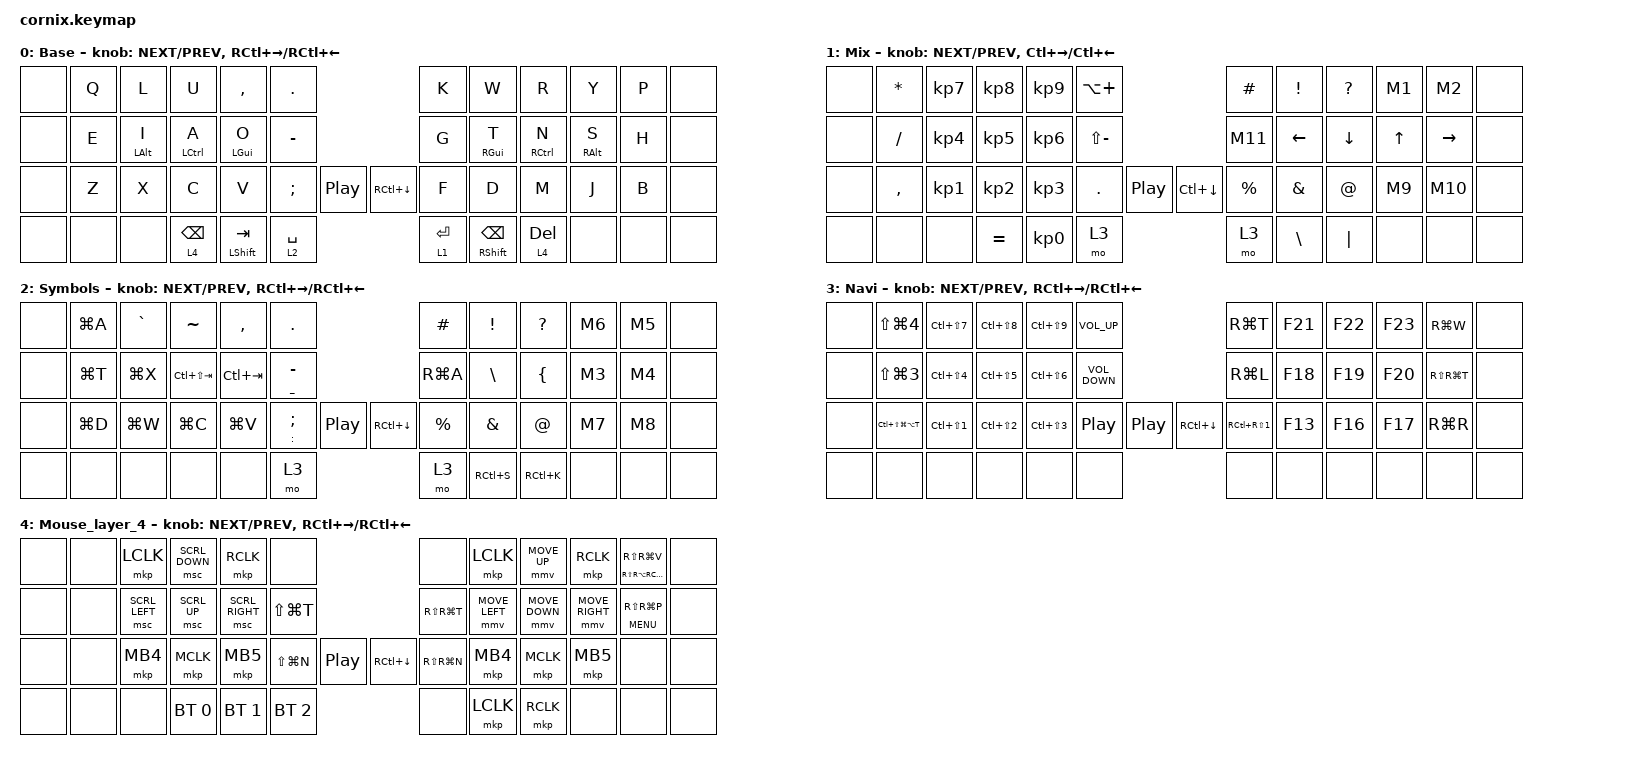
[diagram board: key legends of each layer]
/*
 * Copyright (c) 2020 The ZMK Contributors
 *
 * SPDX-License-Identifier: MIT
 */

#include "zmk-helpers/helper.h"
#include "includes/cornix54.h"

// tap windows for ctl alt and gui

#define HM_TAPPING_TERM 250
#define HM_TAPPING_REPEAT 210

// quick tapping for shift

#define HM_TAPPING_TERM_FAST 200
#define HM_PRIOR_IDLE 70
#define BASE 0
#define WIN 1
#define LOWER 2
#define RAISE 3
#define ADJUST 4
#define NAVI   5
#define NUM    6
#define DEBUG  7

// https://github.com/urob/zmk-config/tree/main#timeless-homerow-mods

#define KEYS_L LT0 LT1 LT2 LT3 LT4 LT5 LM0 LM1 LM2 LM3 LM4 LM5 LB0 LB1 LB2 LB3 LB4 LB5  // left hand
#define KEYS_R RT0 RT1 RT2 RT3 RT4 RT5 RM0 RM1 RM2 RM3 RM4 RM5 RB0 RB1 RB2 RB3 RB4 RB5  // right hand
#define THUMBS LH1 LH0 RH0 RH1
#define KEYS_T LH1 LH0 RH0 RH1
#define ZMK_POINTING_DEFAULT_SCRL_VAL 15

#include <behaviors.dtsi>
#include <dt-bindings/zmk/bt.h>
#include <dt-bindings/zmk/keys.h>
#include <dt-bindings/zmk/pointing.h>

/ {
    // Activate ADJUST layer by pressing raise and lower

    behaviors {
        hm_l: homerow_mods_left {
            compatible = "zmk,behavior-hold-tap";
            #binding-cells = <2>;
            bindings = <&kp>, <&kp>;

            flavor = "balanced";
            tapping-term-ms = <HM_TAPPING_TERM>;
            quick-tap-ms = <200>;                // repeat on tap-into-hold
            require-prior-idle-ms = <HM_PRIOR_IDLE>;
            hold-trigger-key-positions = <KEYS_R KEYS_T>;
            hold-trigger-on-release;
        };

        hm_r: homerow_mods_right {
            compatible = "zmk,behavior-hold-tap";
            #binding-cells = <2>;
            bindings = <&kp>, <&kp>;

            flavor = "balanced";
            tapping-term-ms = <HM_TAPPING_TERM>;
            quick-tap-ms = <200>;
            require-prior-idle-ms = <HM_PRIOR_IDLE>;
            hold-trigger-key-positions = <KEYS_L KEYS_T>;
            hold-trigger-on-release;
        };

        // Positional Homerow mods for shift
        // Use faster tapping term and disable some features that may
        // cause false negatives.

        hm_shift_l: hm_shift_l {
            compatible = "zmk,behavior-hold-tap";
            #binding-cells = <2>;
            bindings = <&kp>, <&kp>;

            //flavor = "balanced";

            flavor = "balanced";
            tapping-term-ms = <HM_TAPPING_TERM_FAST>;
            quick-tap-ms = <200>;
            require-prior-idle-ms = <HM_PRIOR_IDLE>;
            hold-trigger-key-positions = <KEYS_R KEYS_T>;
            hold-trigger-on-release;
        };

        hm_shift_r: hm_shift_r {
            compatible = "zmk,behavior-hold-tap";
            #binding-cells = <2>;
            bindings = <&kp>, <&kp>;

            flavor = "balanced";
            tapping-term-ms = <HM_TAPPING_TERM_FAST>;
            quick-tap-ms = <200>;
            require-prior-idle-ms = <HM_PRIOR_IDLE>;
            hold-trigger-key-positions = <KEYS_L KEYS_T>;

            // for quick tapping; shift+~

            hold-trigger-on-release;
        };

        /*
         * Non-Positional Homerow Mods
         * Used for &mm_grescm_gui behavior on left hand.
         *
         * Usage: &hm LSHFT T
         * Tap: T
         * Tap-Tap-Hold: Repeat T
         * Hold: LSHIFT
         */

        hm: homerow_mods {
            compatible = "zmk,behavior-hold-tap";
            #binding-cells = <2>;
            bindings = <&kp>, <&kp>;

            flavor = "balanced";
            tapping-term-ms = <HM_TAPPING_TERM>;
            quick-tap-ms = <200>;
        };

        lt: layer_tap {
            compatible = "zmk,behavior-hold-tap";
            #binding-cells = <2>;
            bindings = <&mo>, <&kp>;

            flavor = "balanced";
            tapping-term-ms = <175>;
            quick-tap-ms = <200>;
        };

        mt160_behavior: mt160_behavior {
            compatible = "zmk,behavior-hold-tap";
            label = "MT160_BEHAVIOR";
            bindings = <&kp>, <&kp>;

            #binding-cells = <2>;
            tapping-term-ms = <160>;
            quick-tap-ms = <100>;
            flavor = "tap-preferred";
        };

        mt225_behavior: mt225_behavior {
            compatible = "zmk,behavior-hold-tap";
            label = "MT225_BEHAVIOR";
            bindings = <&kp>, <&kp>;

            #binding-cells = <2>;
            tapping-term-ms = <225>;
            quick-tap-ms = <200>;
            flavor = "tap-preferred";
            require-prior-idle-ms = <150>;
        };

        mt220_behavior: mt220_behavior {
            compatible = "zmk,behavior-hold-tap";
            label = "MT220_BEHAVIOR";
            bindings = <&kp>, <&kp>;

            #binding-cells = <2>;
            tapping-term-ms = <220>;
            quick-tap-ms = <100>;
            flavor = "tap-preferred";
        };

        mt170_behavior: mt170_behavior {
            compatible = "zmk,behavior-hold-tap";
            label = "MT170_BEHAVIOR";
            bindings = <&kp>, <&kp>;

            #binding-cells = <2>;
            tapping-term-ms = <170>;
            quick-tap-ms = <80>;
            flavor = "balanced";
            require-prior-idle-ms = <120>;
        };
    };

    conditional_layers { compatible = "zmk,conditional-layers"; };

    combos {
        compatible = "zmk,combos";

        esc {
            bindings = <&kp ESC>;
            key-positions = <1 2>;
            layers = <0>;
            timeout-ms = <100>;
            require-prior-idle-ms = <150>;
        };

        eisuu {
            bindings = <&kp LANG2>;
            key-positions = <14 15>;
            layers = <0>;
            timeout-ms = <100>;
            require-prior-idle-ms = <150>;
        };

        kana {
            bindings = <&kp LANG1>;
            key-positions = <21 20>;
            layers = <0>;
            timeout-ms = <100>;
            require-prior-idle-ms = <150>;
        };

        memo {
            bindings = <&kp RA(RS(RC(RG(ENTER))))>;
            key-positions = <36 35>;
            layers = <0>;
            timeout-ms = <100>;
            require-prior-idle-ms = <150>;
        };

        cmd_enter {
            bindings = <&kp RG(ENTER)>;
            key-positions = <34 33>;
            layers = <0>;
            timeout-ms = <100>;
            require-prior-idle-ms = <150>;
        };

        raycast {
            bindings = <&kp LA(SPACE)>;
            key-positions = <27 28>;
            layers = <0>;
            timeout-ms = <100>;
            require-prior-idle-ms = <150>;
        };

        home {
            bindings = <&kp HOME>;
            key-positions = <20 19>;
            layers = <1>;
            timeout-ms = <100>;
            require-prior-idle-ms = <150>;
        };

        end {
            bindings = <&kp END>;
            key-positions = <22 21>;
            layers = <1>;
            timeout-ms = <100>;
            require-prior-idle-ms = <150>;
        };

        eisuu2 {
            bindings = <&kp LANG2>;
            key-positions = <15 16>;
            layers = <0>;
            timeout-ms = <100>;
            require-prior-idle-ms = <150>;
        };

        kana2 {
            bindings = <&kp LANG1>;
            key-positions = <20 19>;
            layers = <0>;
            timeout-ms = <100>;
            require-prior-idle-ms = <150>;
        };

        iPad_obsidian {
            bindings = <&kp RC(ENTER)>;
            key-positions = <7 8>;
            layers = <0>;
            timeout-ms = <100>;
            require-prior-idle-ms = <150>;
        };

        FN {
            bindings = <&kp K_MENU>;
            key-positions = <9 10>;
        };
    };

    macros {
        M11: M11 {
            compatible = "zmk,behavior-macro";
            #binding-cells = <0>;
            bindings = <&kp LEFT_GUI &kp PERIOD &kp PERIOD &kp PERIOD &kp RIGHT_GUI>;
            label = "M11";
        };

        M9: M9 {
            compatible = "zmk,behavior-macro";
            #binding-cells = <0>;
            bindings = <&kp RIGHT_GUI &kp DOUBLE_QUOTES &kp DOUBLE_QUOTES &kp ENTER &kp LEFT_ARROW>;
            label = "M9";
        };

        M10: M10 {
            compatible = "zmk,behavior-macro";
            #binding-cells = <0>;
            bindings = <&kp RIGHT_GUI &kp SQT &kp SQT &kp ENTER &kp LEFT>;
            label = "M10";
        };

        M1: M1 {
            compatible = "zmk,behavior-macro";
            #binding-cells = <0>;
            bindings = <&kp RIGHT_GUI &kp LEFT_PARENTHESIS &kp RIGHT_PARENTHESIS &kp ENTER &kp LEFT>;
            label = "M1";
        };

        M2: M2 {
            compatible = "zmk,behavior-macro";
            #binding-cells = <0>;
            bindings = <&kp RIGHT_GUI &kp LEFT_BRACKET &kp RIGHT_BRACKET &kp ENTER &kp LEFT>;
            label = "M2";
        };

        M6: M6 {
            compatible = "zmk,behavior-macro";
            #binding-cells = <0>;
            bindings = <&kp LEFT_GUI &kp LEFT_PARENTHESIS &kp RIGHT_PARENTHESIS &kp LEFT>;
            label = "M6";
        };

        M5: M5 {
            compatible = "zmk,behavior-macro";
            #binding-cells = <0>;
            bindings = <&kp LEFT_GUI &kp LESS_THAN &kp GREATER_THAN &kp LEFT>;
            label = "M5";
        };

        M4: M4 {
            compatible = "zmk,behavior-macro";
            #binding-cells = <0>;
            bindings = <&kp LEFT_GUI &kp LEFT_BRACE &kp RIGHT_BRACE &kp LEFT>;
            label = "M4";
        };

        M3: M3 {
            compatible = "zmk,behavior-macro";
            #binding-cells = <0>;
            bindings = <&kp LEFT_GUI &kp LEFT_BRACKET &kp RIGHT_BRACKET &kp LEFT>;
            label = "M3";
        };

        M7: M7 {
            compatible = "zmk,behavior-macro";
            #binding-cells = <0>;
            bindings = <&kp LEFT_GUI &kp DOUBLE_QUOTES &kp DOUBLE_QUOTES &kp LEFT>;
            label = "M7";
        };

        M8: M8 {
            compatible = "zmk,behavior-macro";
            #binding-cells = <0>;
            bindings = <&kp LEFT_GUI &kp SQT &kp SQT &kp LEFT>;
            label = "M8";
        };
    };

    keymap {
        compatible = "zmk,keymap";

        default_layer {
            display-name = "Base";

            // ------------------------------------------------------------------------------------------------------------
            // |   `   |  1  |  2  |  3   |  4   |  5   |                   |  6   |  7    |  8    |  9   |   0   |       |
            // |  ESC  |  Q  |  W  |  E   |  R   |  T   |                   |  Y   |  U    |  I    |  O   |   P   | BKSPC |
            // |  TAB  |  A  |  S  |  D   |  F   |  G   |                   |  H   |  J    |  K    |  L   |   ;   |   '   |
            // | SHIFT |  Z  |  X  |  C   |  V   |  B   |  MUTE  |  |       |  N   |  M    |  ,    |  .   |   /   | SHIFT |
            //               | GUI | ALT  | CTRL | LOWER|  ENTER |  | SPACE | RAISE| CTRL  | ALT   | GUI  |

            bindings = <
&none  &kp Q  &kp L                       &kp U                           &kp COMMA                       &kp PERIOD                                     &kp K        &kp W                                  &kp R                            &kp Y                        &kp P  &none
&none  &kp E  &mt225_behavior LEFT_ALT I  &mt225_behavior LEFT_CONTROL A  &mt225_behavior LEFT_GUI O      &kp MINUS                                      &kp G        &mt225_behavior RIGHT_GUI T            &mt225_behavior RIGHT_CONTROL N  &mt225_behavior RIGHT_ALT S  &kp H  &none
&none  &kp Z  &kp X                       &kp C                           &kp V                           &kp SEMICOLON  &kp C_PLAY_PAUSE  &kp RC(DOWN)  &kp F        &kp D                                  &kp M                            &kp J                        &kp B  &none
&none  &none  &none                       &lt 4 BACKSPACE                 &mt170_behavior LEFT_SHIFT TAB  &lt 2 SPACE                                    &lt 1 ENTER  &mt225_behavior RIGHT_SHIFT BACKSPACE  &lt 4 DELETE                     &none                        &none  &none
            >;

            sensor-bindings =
                <&inc_dec_kp C_NEXT C_PREV>,
                <&inc_dec_kp RC(RIGHT) RC(LEFT_ARROW)>;
        };

        Mix_layer {
            display-name = "Mix";

            // ------------------------------------------------------------------------------------------------------------
            // | BTCLR | BT1  | BT2  |  BT3  |  BT4  |  BT5 |                |      |      |       |      |       |       |
            // |       | INS  | PSCR | GUI   |       |      |                | PGUP |      |   ^   |      |       |       |
            // |       | ALT  | CTRL | SHIFT |       | CAPS |                | PGDN |   <- |   v   |  ->  |  DEL  | BKSPC |
            // |       | UNDO | CUT  | COPY  | PASTE |      |      |  |      |      |      |       |      |       |       |
            //                |      |       |       |      |      |  |      |      |      |       |      |

            bindings = <
&none  &kp ASTERISK  &kp KP_N7  &kp KP_N8  &kp KP_N9        &kp LA(PLUS)                                   &kp HASH     &kp EXCLAMATION  &kp QUESTION  &M1     &M2        &none
&none  &kp SLASH     &kp KP_N4  &kp KP_N5  &kp KP_N6        &kp LS(MINUS)                                  &M11         &kp LEFT         &kp DOWN      &kp UP  &kp RIGHT  &none
&none  &kp COMMA     &kp KP_N1  &kp KP_N2  &kp KP_N3        &kp PERIOD     &kp C_PLAY_PAUSE  &kp LC(DOWN)  &kp PERCENT  &kp AMPERSAND    &kp AT_SIGN   &M9     &M10       &none
&none  &none         &none      &kp EQUAL  &kp KP_NUMBER_0  &mo 3                                          &mo 3        &kp BACKSLASH    &kp PIPE      &none   &none      &none
            >;

            sensor-bindings =
                <&inc_dec_kp C_NEXT C_PREV>,
                <&inc_dec_kp LC(RIGHT) LC(LEFT)>;
        };

        Symbol_layer {
            display-name = "Symbols";

            // TODO: Some binds are waiting for shifted keycode support.
            // -------------------------------
            // |       |  F1 |  F2 |  F3  |  F4  |  F5  |                   |  F6  |  F7   |  F8   |  F9  |  F10  |  F11  |
            // |   `   |  1  |  2  |  3   |  4   |  5   |                   |  6   |  7    |  8    |  9   |   0   |  F12  |
            // |       |  !  |  @  |  #   |  $   |  %   |                   |  ^   |  &    |  *    |  (   |   )   |   |   |
            // |       |  =  |  -  |  +   |  {   |  }   |        |  |       |  [   |  ]    |  ;    |  :   |   \   |       |
            //               |     |      |      |      |        |  |       |      |       |       |      |

            bindings = <
&none  &kp LG(A)  &kp GRAVE  &kp TILDE        &kp COMMA    &kp PERIOD                                                        &kp HASH     &kp EXCLAMATION  &kp QUESTION    &M6    &M5    &none
&none  &kp LG(T)  &kp LG(X)  &kp LC(LS(TAB))  &kp LC(TAB)  &mt170_behavior UNDERSCORE MINUS                                  &kp RG(A)    &kp BACKSLASH    &kp LEFT_BRACE  &M3    &M4    &none
&none  &kp LG(D)  &kp LG(W)  &kp LG(C)        &kp LG(V)    &mt170_behavior COLON SEMICOLON   &kp C_PLAY_PAUSE  &kp RC(DOWN)  &kp PERCENT  &kp AMPERSAND    &kp AT_SIGN     &M7    &M8    &none
&none  &none      &none      &none            &none        &mo 3                                                             &mo 3        &kp RC(S)        &kp RC(K)       &none  &none  &none
            >;

            sensor-bindings =
                <&inc_dec_kp C_NEXT C_PREV>,
                <&inc_dec_kp RC(RIGHT) RC(LEFT_ARROW)>;
        };

        Navi_layer {
            display-name = "Navi";
            bindings = <
&none  &kp LS(LG(NUMBER_4))   &kp LC(LS(NUMBER_7))  &kp LC(LS(NUMBER_8))  &kp LC(LS(NUMBER_9))  &kp C_VOLUME_UP                                    &kp RG(T)             &kp F21  &kp F22  &kp F23  &kp RG(W)      &none
&none  &kp LS(LG(NUMBER_3))   &kp LC(LS(NUMBER_4))  &kp LC(LS(NUMBER_5))  &kp LC(LS(NUMBER_6))  &kp C_VOLUME_DOWN                                  &kp RG(L)             &kp F18  &kp F19  &kp F20  &kp RS(RG(T))  &none
&none  &kp LC(LS(LG(LA(T))))  &kp LC(LS(NUMBER_1))  &kp LC(LS(NUMBER_2))  &kp LC(LS(NUMBER_3))  &kp C_PP           &kp C_PLAY_PAUSE  &kp RC(DOWN)  &kp RC(RS(NUMBER_1))  &kp F13  &kp F16  &kp F17  &kp RG(R)      &none
&none  &none                  &none                 &none                 &none                 &none                                              &none                 &none    &none    &none    &none          &none
            >;

            sensor-bindings =
                <&inc_dec_kp C_NEXT C_PREV>,
                <&inc_dec_kp RC(RIGHT) RC(LEFT)>;
        };

        Mouse_layer_4 {
            bindings = <
&none  &none  &mkp LCLK       &msc SCRL_DOWN  &mkp RCLK        &none                                  &none          &mkp LCLK       &mmv MOVE_UP    &mkp RCLK        &mt220_behavior RS(RA(RC(RG(T)))) RS(RG(V))  &none
&none  &none  &msc SCRL_LEFT  &msc SCRL_UP    &msc SCRL_RIGHT  &kp LS(LG(T))                          &kp RS(RG(T))  &mmv MOVE_LEFT  &mmv MOVE_DOWN  &mmv MOVE_RIGHT  &mt170_behavior K_MENU RS(RG(P))             &none
&none  &none  &mkp MB4        &mkp MCLK       &mkp MB5         &kp LS(LG(N))  &kp C_PP  &kp RC(DOWN)  &kp RS(RG(N))  &mkp MB4        &mkp MCLK       &mkp MB5         &none                                        &none
&none  &none  &none           &bt BT_SEL 0    &bt BT_SEL 1     &bt BT_SEL 2                           &none          &mkp LCLK       &mkp RCLK       &none            &none                                        &none
            >;

            sensor-bindings =
                <&inc_dec_kp C_NEXT C_PREV>,
                <&inc_dec_kp RC(RIGHT) RC(LEFT)>;
        };
    };
};
